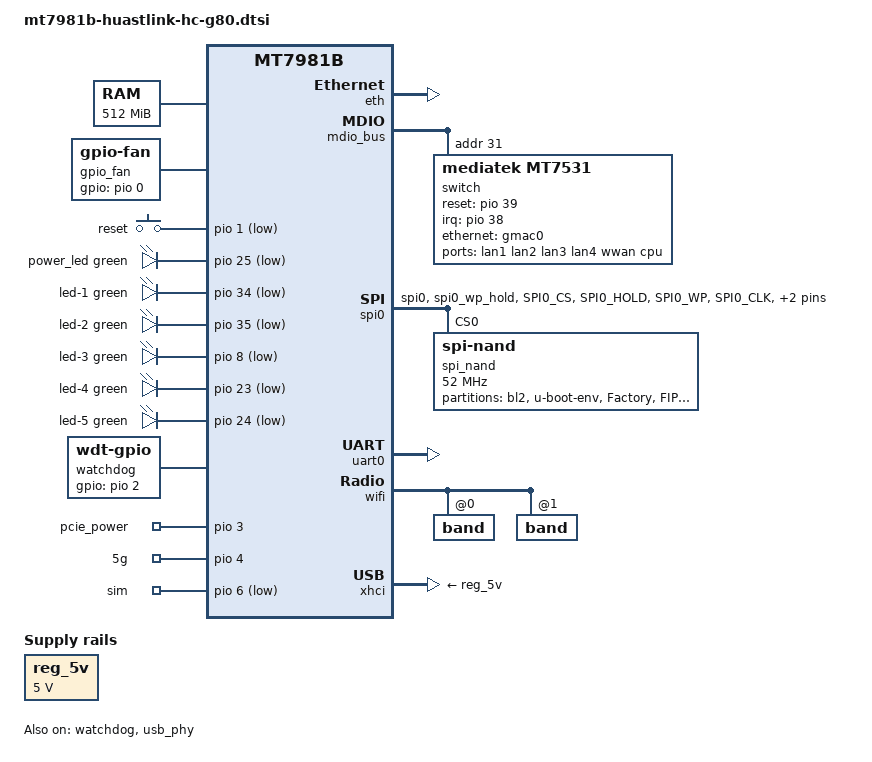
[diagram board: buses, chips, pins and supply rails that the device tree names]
// SPDX-License-Identifier: GPL-2.0-or-later OR MIT
/*
 * Copyright (C) 2026 Maxis
 */

#include <dt-bindings/gpio/gpio.h>
#include <dt-bindings/input/input.h>
#include <dt-bindings/leds/common.h>
#include <dt-bindings/pinctrl/mt65xx.h>
#include "mt7981b.dtsi"

/ {
	aliases {
		serial0 = &uart0;
		led-boot = &power_led;
		led-failsafe = &power_led;
		led-running = &power_led;
		led-upgrade = &power_led;
		label-mac-device = &gmac1;
	};

	memory@40000000 {
		reg = <0 0x40000000 0 0x20000000>;
		device_type = "memory";
	};

	gpio_fan: gpio-fan {
		compatible = "gpio-fan";
		gpios = <&pio 0 GPIO_ACTIVE_HIGH>;
		gpio-fan,speed-map = <0 0>, <1 1>;
		#cooling-cells = <2>;
	};

	gpio-keys {
		compatible = "gpio-keys";
		button-reset {
			label = "reset";
			linux,code = <KEY_RESTART>;
			gpios = <&pio 1 GPIO_ACTIVE_LOW>;
		};
	};

	gpio-leds {
		compatible = "gpio-leds";
		power_led: led-0 {
			function = LED_FUNCTION_POWER;
			color = <LED_COLOR_ID_GREEN>;
			gpios = <&pio 25 GPIO_ACTIVE_LOW>;
		};

		led-1 {
			function = LED_FUNCTION_WLAN;
			function-enumerator = <1>;
			color = <LED_COLOR_ID_GREEN>;
			gpios = <&pio 34 GPIO_ACTIVE_LOW>;
		};

		led-2 {
			function = LED_FUNCTION_WLAN;
			function-enumerator = <2>;
			color = <LED_COLOR_ID_GREEN>;
			gpios = <&pio 35 GPIO_ACTIVE_LOW>;
		};

		led-3 {
			function = LED_FUNCTION_WAN;
			color = <LED_COLOR_ID_GREEN>;
			gpios = <&pio 8 GPIO_ACTIVE_LOW>;
		};

		led-4 {
			function = LED_FUNCTION_LAN;
			function-enumerator = <1>;
			color = <LED_COLOR_ID_GREEN>;
			gpios = <&pio 23 GPIO_ACTIVE_LOW>;
		};

		led-5 {
			function = LED_FUNCTION_LAN;
			function-enumerator = <2>;
			color = <LED_COLOR_ID_GREEN>;
			gpios = <&pio 24 GPIO_ACTIVE_LOW>;
		};
	};

	reg_5v: regulator-5v {
		compatible = "regulator-fixed";
		regulator-name = "fixed-5V";
		regulator-min-microvolt = <5000000>;
		regulator-max-microvolt = <5000000>;
		regulator-boot-on;
		regulator-always-on;
	};

	watchdog {
		compatible = "linux,wdt-gpio";
		gpios = <&pio 2 GPIO_ACTIVE_HIGH>;
		hw_algo = "toggle";
		hw_margin_ms = <1000>;
	};

	gpio-export {
		compatible = "gpio-export";
		pcie { gpio-export,name = "pcie_power"; gpio-export,output = <1>; gpios = <&pio 3 GPIO_ACTIVE_HIGH>; };
		wwan_5g { gpio-export,name = "5g"; gpio-export,output = <1>; gpios = <&pio 4 GPIO_ACTIVE_HIGH>; };
		sim { gpio-export,name = "sim"; gpio-export,output = <0>; gpios = <&pio 6 GPIO_ACTIVE_LOW>; };
	};
};

&eth {
	pinctrl-names = "default";
	pinctrl-0 = <&mdio_pins>;
	status = "okay";
	gmac0: mac@0 {
		compatible = "mediatek,eth-mac";
		reg = <0>;
		phy-mode = "2500base-x";
		nvmem-cell-names = "mac-address";
		nvmem-cells = <&macaddr_factory_4 0>;
		fixed-link { speed = <2500>; full-duplex; pause; };
	};
	gmac1: mac@1 {
		compatible = "mediatek,eth-mac";
		reg = <1>;
		phy-mode = "gmii";
		phy-handle = <&int_gbe_phy>;
		nvmem-cell-names = "mac-address";
		nvmem-cells = <&macaddr_factory_4 1>;
	};
};

&mdio_bus {
	switch: switch@1f {
		compatible = "mediatek,mt7531";
		reg = <31>;
		reset-gpios = <&pio 39 GPIO_ACTIVE_HIGH>;
		interrupt-controller;
		#interrupt-cells = <1>;
		interrupt-parent = <&pio>;
		interrupts = <38 IRQ_TYPE_LEVEL_HIGH>;
	};
};

&switch {
	ports {
		#address-cells = <1>;
		#size-cells = <0>;
		port@0 { reg = <0>; label = "lan1"; };
		port@1 { reg = <1>; label = "lan2"; };
		port@2 { reg = <2>; label = "lan3"; };
		port@3 { reg = <3>; label = "lan4"; };
		port_4: port@4 { reg = <4>; label = "wwan"; };
		port@6 {
			reg = <6>;
			label = "cpu";
			ethernet = <&gmac0>;
			phy-mode = "2500base-x";
			fixed-link { speed = <2500>; full-duplex; pause; };
		};
	};
};

&spi0 {
	pinctrl-names = "default";
	pinctrl-0 = <&spi0_flash_pins>;
	status = "okay";

	spi_nand: spi_nand@0 {
		compatible = "spi-nand";
		reg = <0>;
		spi-max-frequency = <52000000>;
		spi-tx-bus-width = <4>;
		spi-rx-bus-width = <4>;
		mediatek,nmbm;
		mediatek,bmt-max-ratio = <1>;
		mediatek,bmt-max-reserved-blocks = <64>;

		partitions: partitions {
			compatible = "fixed-partitions";
			#address-cells = <1>;
			#size-cells = <1>;

			partition@0 { label = "bl2"; reg = <0x0000000 0x0100000>; read-only; };
			partition@100000 { label = "u-boot-env"; reg = <0x100000 0x80000>; };

			partition@180000 {
				label = "Factory";
				reg = <0x180000 0x200000>;
				read-only;
				nvmem-layout {
					compatible = "fixed-layout";
					#address-cells = <1>;
					#size-cells = <1>;
					eeprom_factory: eeprom@0 { reg = <0x0 0x1000>; };
					macaddr_factory_4: macaddr@4 { reg = <0x4 0x6>; compatible = "mac-base"; #nvmem-cell-cells = <1>; };
					macaddr_factory_a: macaddr@a { reg = <0xa 0x6>; compatible = "mac-base"; #nvmem-cell-cells = <1>; };
				};
			};

			partition@380000 { label = "FIP"; reg = <0x380000 0x200000>; read-only; };
			partition@580000 { compatible = "linux,ubi"; label = "ubi"; reg = <0x580000 0>; };
		};
	};
};

&pio {
	spi0_flash_pins: spi0-pins {
		mux { function = "spi"; groups = "spi0", "spi0_wp_hold"; };
		conf-pu { pins = "SPI0_CS", "SPI0_HOLD", "SPI0_WP"; drive-strength = <MTK_DRIVE_8mA>; bias-pull-up = <MTK_PUPD_SET_R1R0_11>; };
		conf-pd { pins = "SPI0_CLK", "SPI0_MOSI", "SPI0_MISO"; drive-strength = <MTK_DRIVE_8mA>; bias-pull-down = <MTK_PUPD_SET_R1R0_11>; };
	};
};

&uart0 {
	status = "okay";
};

&watchdog {
	status = "okay";
};

&wifi {
	status = "okay";
	#address-cells = <1>;
	#size-cells = <0>;
	nvmem-cells = <&eeprom_factory>;
	nvmem-cell-names = "eeprom";
	band@0 { reg = <0>; nvmem-cells = <&macaddr_factory_a 1>; nvmem-cell-names = "mac-address"; };
	band@1 { reg = <1>; nvmem-cells = <&macaddr_factory_a 2>; nvmem-cell-names = "mac-address"; };
};

&usb_phy { status = "okay"; };
&xhci { status = "okay"; vusb33-supply = <&reg_3p3v>; vbus-supply = <&reg_5v>; };

&cpu_thermal {
	cooling-maps {
		/delete-node/ cpu-active-high;
		/delete-node/ cpu-active-med;
		/delete-node/ cpu-active-low;
		cpu-active-highest { cooling-device = <&gpio_fan 1 1>; trip = <&cpu_trip_active_high>; };
	};
};
